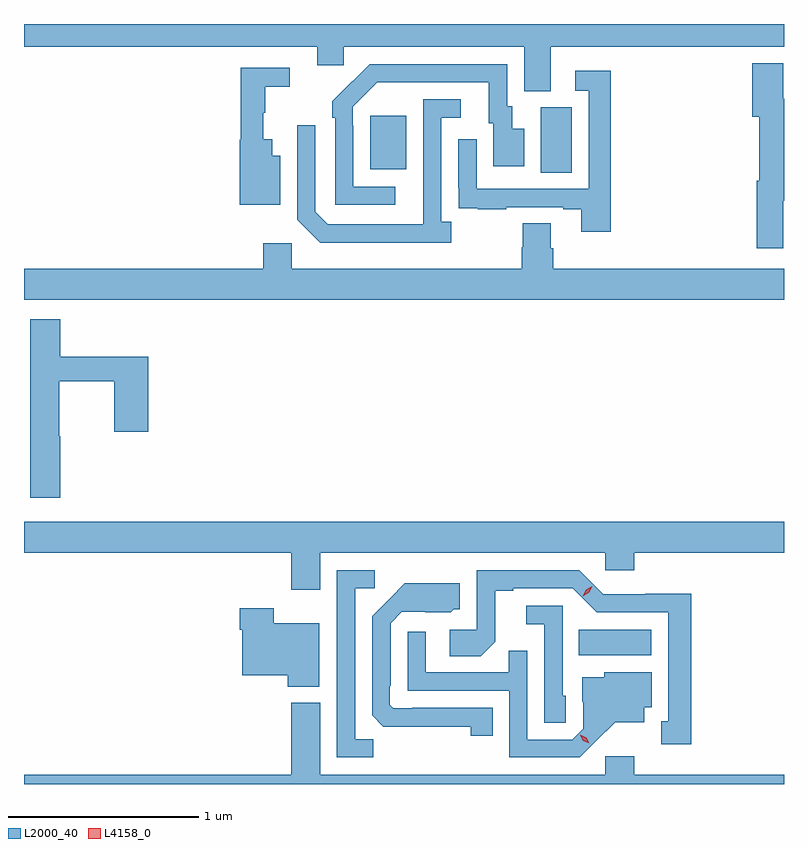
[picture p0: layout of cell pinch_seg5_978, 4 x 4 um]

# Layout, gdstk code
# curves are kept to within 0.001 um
import gdstk
lib = gdstk.Library(unit=1e-6, precision=1e-09)
def R(c, l, rs):  # rectangles x0, y0, x1, y1
    for r in rs: c.add(gdstk.rectangle(r[:2], r[2:], *l))
def P(c, l, *ps):  # polygons
    for p in ps: c.add(gdstk.Polygon(p, *l))
L2000_40 = (2000, 40)
L4158_0 = (4158, 0)

pinch_seg5_978 = lib.new_cell('pinch_seg5_978')
R(pinch_seg5_978, L2000_40, [(734.548,874.868,734.929,875.002), (734.348,877.408,734.512,877.752), (733.451,877.427,733.639,877.708)])
P(pinch_seg5_978, L2000_40, [(734.401,878.072),(735.628,878.072),(735.628,878.191),(731.628,878.191),(731.628,878.072),(733.172,878.072),(733.172,877.974),(733.311,877.974),(733.311,878.072),(734.261,878.072),(734.261,877.837),(734.401,877.837)],
  [(735.625,877.262),(735.628,877.262),(735.628,877.797),(735.625,877.797),(735.625,877.984),(735.461,877.984),(735.461,877.704),(735.497,877.704),(735.497,877.366),(735.485,877.366),(735.485,877.011),(735.625,877.011)],
  [(733.582,877.335),(733.362,877.335),(733.362,877.655),(733.359,877.655),(733.359,877.755),(733.488,877.884),(734.075,877.884),(734.075,877.668),(734.099,877.668),(734.099,877.443),(734.26,877.443),(734.26,877.639),(734.197,877.639),(734.197,877.758),(734.172,877.758),(734.172,877.98),(733.448,877.98),(733.251,877.785),(733.251,877.697),(733.266,877.697),(733.266,877.239),(733.582,877.239)],
  [(732.976,877.498),(732.934,877.498),(732.934,877.585),(732.887,877.585),(732.887,877.725),(732.898,877.725),(732.898,877.861),(733.027,877.861),(733.027,877.962),(732.769,877.962),(732.769,877.581),(732.764,877.581),(732.764,877.241),(732.976,877.241)],
  [(734.717,877.945),(734.529,877.945),(734.529,877.839),(734.601,877.839),(734.601,877.323),(734.01,877.323),(734.01,877.585),(733.914,877.585),(733.914,877.33),(733.915,877.33),(733.915,877.221),(734.017,877.221),(734.017,877.215),(734.165,877.215),(734.165,877.227),(734.465,877.227),(734.465,877.215),(734.561,877.215),(734.561,877.098),(734.717,877.098)],
  [(733.876,877.15),(733.824,877.15),(733.824,877.698),(733.927,877.698),(733.927,877.794),(733.728,877.794),(733.728,877.137),(733.227,877.137),(733.161,877.203),(733.161,877.657),(733.065,877.657),(733.065,877.161),(733.186,877.04),(733.876,877.04)],
  [(735.628,876.904),(734.414,876.904),(734.414,877.01),(734.401,877.01),(734.401,877.142),(734.254,877.142),(734.254,877.017),(734.249,877.017),(734.249,876.904),(733.038,876.904),(733.038,877.036),(732.887,877.036),(732.887,876.904),(731.628,876.904),(731.628,876.74),(735.628,876.74)],
  [(731.819,876.021),(731.814,876.021),(731.814,876.31),(732.103,876.31),(732.103,876.045),(732.281,876.045),(732.281,876.439),(731.819,876.439),(731.819,876.637),(731.66,876.637),(731.66,875.697),(731.819,875.697)],
  [(733.186,875.408),(734.688,875.408),(734.688,875.315),(734.84,875.315),(734.84,875.408),(735.628,875.408),(735.628,875.572),(731.628,875.572),(731.628,875.408),(733.034,875.408),(733.034,875.214),(733.186,875.214)],
  [(735.139,875.192),(734.898,875.192),(734.898,875.19),(734.676,875.19),(734.55,875.316),(734.01,875.316),(734.01,875.004),(733.869,875.004),(733.869,874.864),(734.033,874.864),(734.109,874.94),(734.109,875.208),(734.203,875.208),(734.203,875.22),(734.517,875.22),(734.643,875.094),(735.02,875.094),(735.02,874.521),(734.981,874.521),(734.981,874.401),(735.139,874.401)],
  [(733.467,874.427),(733.371,874.427),(733.371,875.22),(733.474,875.22),(733.474,875.316),(733.275,875.316),(733.275,874.332),(733.467,874.332)],
  [(734.096,874.593),(733.672,874.593),(733.672,874.59),(733.572,874.59),(733.554,874.608),(733.554,874.708),(733.557,874.708),(733.557,875.037),(733.617,875.097),(733.874,875.096),(733.89,875.112),(733.921,875.112),(733.921,875.248),(733.633,875.248),(733.461,875.074),(733.461,874.552),(733.52,874.493),(733.978,874.492),(733.978,874.446),(734.096,874.446)],
  [(734.478,874.656),(734.463,874.656),(734.463,875.13),(734.271,875.13),(734.271,875.033),(734.367,875.033),(734.367,874.513),(734.478,874.513)],
  [(733.183,875.038),(732.942,875.038),(732.942,875.116),(732.764,875.116),(732.764,875.003),(732.776,875.003),(732.776,874.763),(733.016,874.763),(733.016,874.703),(733.183,874.703)],
  [(734.638,874.415),(734.741,874.517),(734.893,874.517),(734.893,874.596),(734.932,874.596),(734.932,874.78),(734.682,874.78),(734.682,874.753),(734.567,874.753),(734.567,874.624),(734.571,874.624),(734.571,874.482),(734.514,874.425),(734.277,874.425),(734.277,874.892),(734.179,874.892),(734.179,874.779),(733.743,874.779),(733.743,874.993),(733.647,874.993),(733.647,874.683),(734.181,874.683),(734.181,874.332),(734.554,874.332)],
  [(735.628,874.24),(734.84,874.24),(734.84,874.336),(734.688,874.336),(734.688,874.24),(733.186,874.24),(733.186,874.618),(733.034,874.618),(733.034,874.24),(731.628,874.24),(731.628,874.191),(735.628,874.191)])
P(pinch_seg5_978, L4158_0, [(734.57,875.18),(734.57,875.18),(734.588,875.213),(734.62,875.231),(734.62,875.231),(734.62,875.231),(734.602,875.199),(734.57,875.18)],
  [(734.603,874.405),(734.572,874.419),(734.555,874.448),(734.555,874.449),(734.555,874.449),(734.586,874.434),(734.603,874.405),(734.603,874.405)])

lib.write_gds('pinch_seg5_978.gds')
